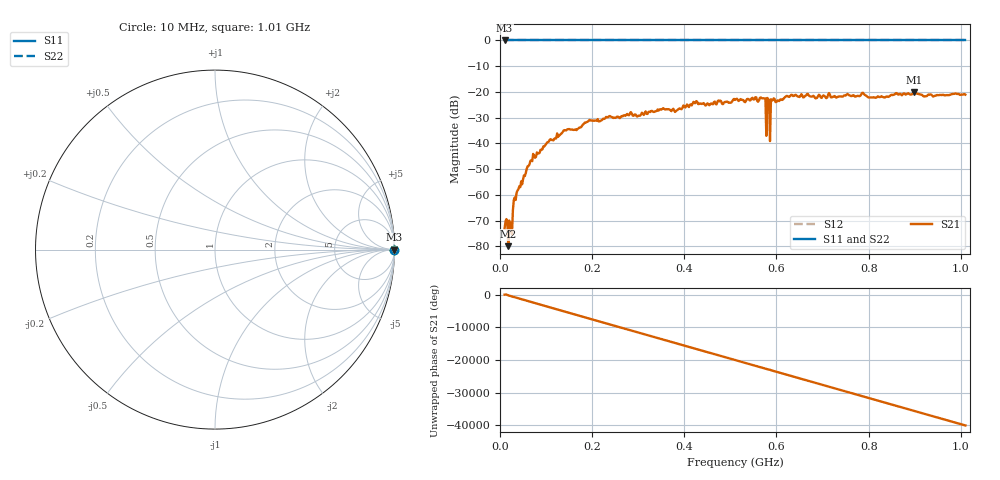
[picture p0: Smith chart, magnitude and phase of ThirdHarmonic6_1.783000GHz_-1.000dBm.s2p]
! 8/16/2025 9:33:38 PM
! C:\ANRITSUVNA\TEMP\TEMP.S2P
! CHANNEL.1
! TR.MEASUREMENT
! RAW.DATA
! RF.CORRECTION.OFF
! AVERAGING.OFF
! IF.BANDWIDTH: 5KHZ
! SWEEPTYPE:  FREQ.SWEEP(Linear)
! Reference Plane Port Info
! PORT:  PORT1  PORT2
! DISTANCE:  0  m  0  m
! TIME:  0  s  0  s
! PHASE.OFFSET:  0  deg.  0  deg.
! LOSS:  0  dB  0  dB
! REF.LOSS:  0  dB  0  dB
! REF.FREQ:  0  Hz  0  Hz
! Power Info
! POWER:  -20  dBm  -20  dBm
! EFF.POWER:  -20  dBm  -20  dBm
! SOURCE.ATTEN:  0  dB  0  dB
! TEST.ATTEN:  0  dB  0  dB
# GHZ S RI R 50.0
! FREQ.GHZ  S11RE  S11IM  S21RE  S21IM  S12RE  S12IM  S22RE  S22IM
!; PortSelection: Port_12
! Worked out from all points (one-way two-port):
!   501 points, 10 MHz to 1.01 GHz, reference 50 ohm
!   highest |S21| = -20.14 dB at 898 MHz (marker M1); lowest = -79.9 dB at 18 MHz (marker M2)
!   lowest |S11| = 0.0 dB at 10 MHz (marker M3)
!   |S11| at or under -10 dB: nowhere
!   |S22| runs from 0.0 to 0.0 dB; largest |S21 - S12| = 1.1
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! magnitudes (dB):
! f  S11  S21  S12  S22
! 10 MHz  0.0  -73.1  0.0  0.0
! 18 MHz  0.0  -79.9  0.0  0.0
! 22 MHz  0.0  -74.1  0.0  0.0
! 34 MHz  0.0  -62.0  0.0  0.0
! 70 MHz  0.0  -46.9  0.0  0.0
! 138 MHz  0.0  -35.0  0.0  0.0
! 178 MHz  0.0  -33.1  0.0  0.0
! 234 MHz  0.0  -29.9  0.0  0.0
! 300 MHz  0.0  -29.2  0.0  0.0
! 344 MHz  0.0  -27.3  0.0  0.0
! 510 MHz  0.0  -23.1  0.0  0.0
! 572 MHz  0.0  -22.5  0.0  0.0
! 574 MHz  0.0  -22.5  0.0  0.0
! 580 MHz  0.0  -22.3  0.0  0.0
! 582 MHz  0.0  -22.7  0.0  0.0
! 584 MHz  0.0  -23.3  0.0  0.0
! 590 MHz  0.0  -23.4  0.0  0.0
! 592 MHz  0.0  -23.2  0.0  0.0
! 678 MHz  0.0  -21.8  0.0  0.0
! 844 MHz  0.0  -21.8  0.0  0.0
! 898 MHz  0.0  -20.1  0.0  0.0
! 1.01 GHz  0.0  -21.1  0.0  0.0
